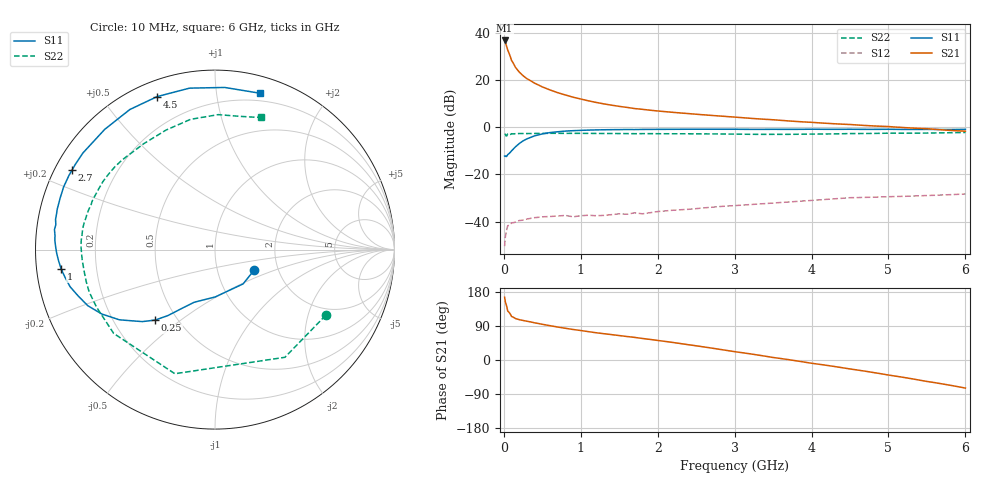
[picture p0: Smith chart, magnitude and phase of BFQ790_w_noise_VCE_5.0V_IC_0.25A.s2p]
! Infineon Technologies  Discrete & RF Semiconductors
! BFQ790
! VCE =  5.0 V,  IC = 0.25 A
! Common Emitter S-Parameters:  May 2015
# GHz  S  MA  R  50
!  f  S11  S21  S12  S22
! GHz  MAG  ANG  MAG  ANG  MAG  ANG  MAG  ANG
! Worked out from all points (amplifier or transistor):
!   77 points, 10 MHz to 6 GHz, reference 50 ohm
!   highest |S21| = 36.9 dB at 10 MHz (marker M1)
!   |S21| within 3 dB of that: start of sweep to 40.35 MHz
!   unconditionally stable (mu >= 1): start of sweep to 13.81 MHz; 173.2 MHz to end of sweep
!   at 130 MHz: K = 0.89, MSG = 33.6 dB, |S12| = -40.4 dB
!   at 2.2 GHz: K = 1.33, MAG = 17.3 dB, |S12| = -35.2 dB
!   at 6 GHz: K = 1.14, MAG = 11.1 dB, |S12| = -28.3 dB
!   lowest NFmin = 3.72 dB at 1.5 GHz
!   S11 on the Smith chart (normalised r, x): 10 MHz: 1.50, -0.37; 250 MHz: 0.38, -0.41; 1 GHz: 0.07, -0.06; 2.7 GHz: 0.05, +0.26; 4.5 GHz: 0.07, +0.69; 6 GHz: 0.13, +1.32
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0.01  0.2463 -27.9  70 165.7  0.003 50.3  0.7172 -30.7
0.02  0.247 -50.7  64.35 152.8  0.0048 49.7  0.7154 -57.0
0.05  0.2637 -89.7  44.03 129.3  0.0081 33.6  0.7268 -107.9
0.1  0.3162 -111.7  26.43 114.9  0.0093 21.9  0.7327 -140.4
0.15  0.3842 -120.2  18.91 109.5  0.0097 24.1  0.7337 -154.1
0.2  0.4527 -125.6  14.94 106.5  0.0105 20.9  0.7397 -161.4
0.25  0.5157 -130.4  12.5 104.3  0.0107 19.0  0.7393 -166.1
0.3  0.5703 -135.3  10.8 102.3  0.0113 17.7  0.7388 -169.8
0.4  0.6608 -143.7  8.653 98.1  0.0121 15.3  0.7417 -174.9
0.5  0.7252 -150.3  7.229 94.2  0.0126 12.2  0.744 -178.5
0.7  0.805 -161.3  5.446 87.0  0.0131 14.9  0.7471 175.9
0.9  0.8497 -169.5  4.37 80.5  0.0126 9.5  0.7457 172.2
1  0.8635 -172.7  3.999 77.8  0.0133 11.6  0.7456 170.4
1.1  0.8744 -176.1  3.659 74.8  0.0136 13.3  0.7445 168.7
1.5  0.8952 174.8  2.79 64.5  0.0146 14.3  0.7385 162.9
2.1  0.9078 163.5  2.153 49.0  0.0168 15.0  0.7317 154.2
2.7  0.9114 150.8  1.792 31.5  0.0201 10.0  0.7249 142.5
3.1  0.9084 141.6  1.604 19.2  0.0223 6.0  0.7149 133.5
4.1  0.9105 119.2  1.246 -11.3  0.0288 -8.5  0.721 109.9
4.5  0.9114 110.7  1.149 -23.6  0.0321 -15.9  0.7385 100.6
5.1  0.9062 96.5  1.013 -42.8  0.034 -28.1  0.7511 86.6
6  0.9069 73.8  0.829 -74.1  0.0385 -48.8  0.7789 70.9
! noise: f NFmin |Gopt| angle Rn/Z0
0.45  6.14  0.5  143  0.6
0.9  4.32  0.63  168  0.19
1.5  3.72  0.73  -171  0.1
1.8  3.74  0.74  -167  0.12
2.6  3.94  0.76  -151  0.32
3.5  4.4  0.85  -134  0.67
